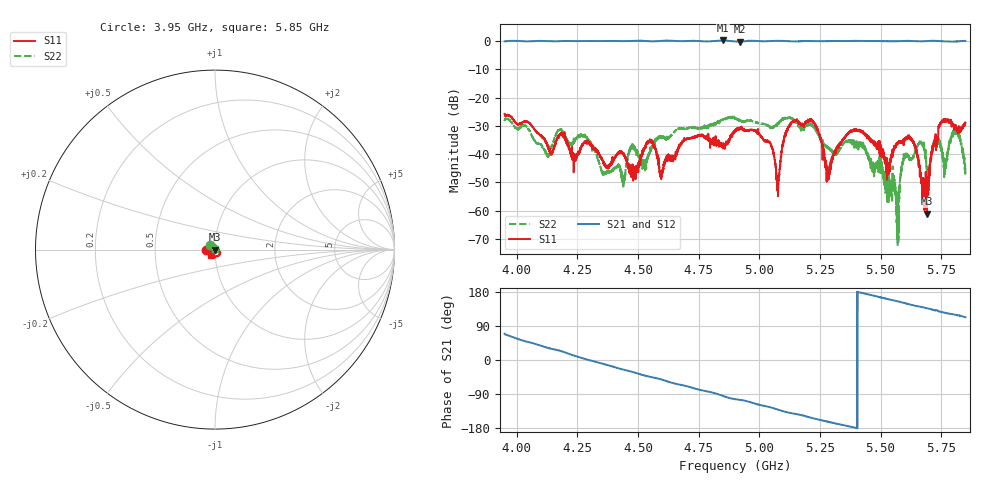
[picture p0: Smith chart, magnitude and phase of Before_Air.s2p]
# GHZ S RI R 50.000000000000
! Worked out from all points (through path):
!   4501 points, 3.95 GHz to 5.85 GHz, reference 50 ohm
!   highest |S21| = 0.16 dB at 4.849 GHz (marker M1); lowest = -0.3 dB at 4.919 GHz (marker M2)
!   group delay of S21, straight-line fit = 454 ps
!   lowest |S11| = -61.0 dB at 5.692 GHz (marker M3), VSWR 1.00, Z = 50 - j0.0758 ohm
!   |S11| at or under -10 dB: start of sweep to end of sweep
!   |S22| runs from -72.5 to -26.6 dB; largest |S21 - S12| = 0.067
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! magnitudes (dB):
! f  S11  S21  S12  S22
! 3.95 GHz  -25.8  -0.2  -0.2  -28.3
! 4.126 GHz  -36.9  -0.1  -0.1  -40.6
! 4.267 GHz  -37.3  -0.1  -0.1  -33.2
! 4.439 GHz  -39.9  -0.1  -0.1  -51.4
! 4.584 GHz  -43.6  -0.1  -0.1  -34.7
! 4.849 GHz  -37.1  0.2  0.1  -27.5
! 4.9 GHz  -31.9  -0.2  -0.1  -27.4
! 4.919 GHz  -31.3  -0.3  -0.2  -27.9
! 5.041 GHz  -35.8  -0.1  -0.1  -30.2
! 5.077 GHz  -53.1  0.0  0.0  -29.2
! 5.125 GHz  -29.8  -0.1  -0.1  -27.2
! 5.217 GHz  -28.0  0.0  0.0  -30.0
! 5.285 GHz  -46.1  -0.1  -0.1  -38.0
! 5.395 GHz  -31.3  0.0  0.0  -36.0
! 5.534 GHz  -44.3  -0.1  -0.1  -53.5
! 5.57 GHz  -36.0  -0.1  -0.1  -72.5
! 5.621 GHz  -34.6  0.0  -0.1  -41.8
! 5.668 GHz  -48.1  -0.2  -0.2  -36.0
! 5.692 GHz  -61.0  -0.1  -0.1  -49.1
! 5.748 GHz  -29.0  -0.1  -0.1  -37.2
! 5.812 GHz  -31.6  -0.2  -0.3  -32.1
! 5.85 GHz  -28.9  0.0  0.0  -44.2
